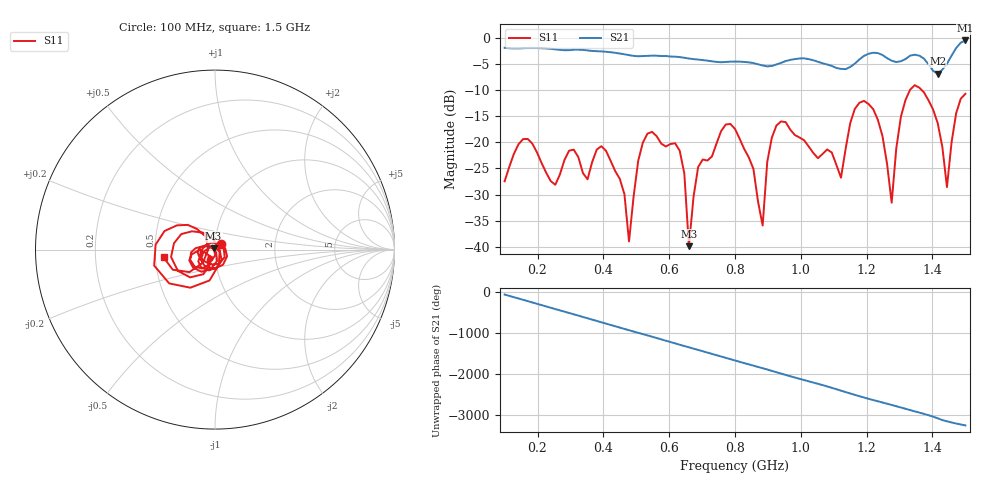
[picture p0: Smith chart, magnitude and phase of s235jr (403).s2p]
! NanoVNA-App
! Date: 2025-09-25 15:07:18
! Start: 100MHz Stop: 1,5GHz Points: 101
! S-Parameter data: F S11 S21 S12 S22
# Hz S RI R 50
!  Frequency  S11_Real  S11_Imag  S21_Real  S21_Imag  S12_Real  S12_Imag  S22_Real  S22_Imag
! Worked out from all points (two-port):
!   101 points, 100 MHz to 1.5 GHz, reference 50 ohm
!   highest |S21| = -0.56 dB at 1.5 GHz (marker M1); lowest = -6.9 dB at 1.416 GHz (marker M2)
!   |S21| within 3 dB of the highest: start of sweep to 502.4 MHz; 513.2 MHz to 594.7 MHz (81.49 MHz wide, 14.7 % of centre) (the widest 2 of 5)
!   lowest |S11| = -39.9 dB at 660 MHz (marker M3), VSWR 1.02, Z = 49.2 + j0.632 ohm
!   |S11| at or under -10 dB: start of sweep to 1.332 GHz; 1.367 GHz to end of sweep
!   S12 and S22 are empty: the file has one direction only
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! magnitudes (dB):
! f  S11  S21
! 100 MHz  -27.5  -2.0
! 156 MHz  -19.4  -2.0
! 338 MHz  -25.9  -2.4
! 408 MHz  -21.6  -2.7
! 478 MHz  -39.0  -3.4
! 520 MHz  -20.1  -3.5
! 576 MHz  -20.3  -3.5
! 632 MHz  -21.6  -3.7
! 660 MHz  -39.9  -4.0
! 688 MHz  -24.7  -4.2
! 800 MHz  -17.5  -4.6
! 884 MHz  -35.9  -5.3
! 926 MHz  -16.8  -5.1
! 1.038 GHz  -22.1  -4.3
! 1.122 GHz  -26.8  -6.0
! 1.192 GHz  -12.1  -3.5
! 1.248 GHz  -18.8  -3.3
! 1.276 GHz  -31.6  -4.4
! 1.332 GHz  -10.0  -3.5
! 1.416 GHz  -16.4  -6.9
! 1.444 GHz  -28.6  -5.0
! 1.5 GHz  -10.8  -0.6
